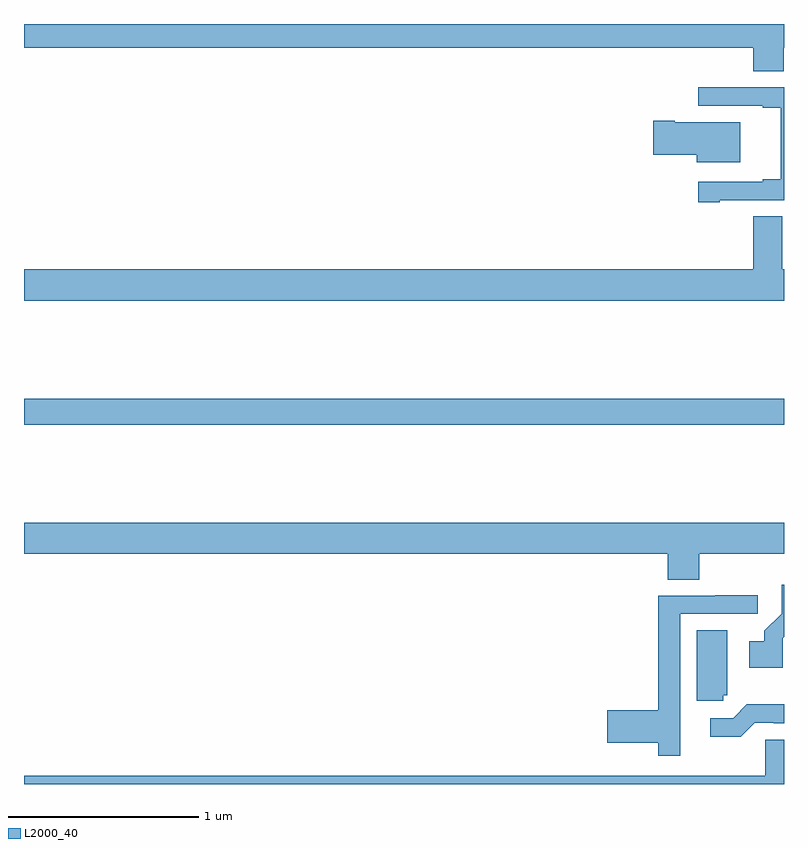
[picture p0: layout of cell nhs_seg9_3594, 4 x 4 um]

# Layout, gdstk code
import gdstk
lib = gdstk.Library(unit=1e-6, precision=1e-09)
def R(c, l, rs):  # rectangles x0, y0, x1, y1
    for r in rs: c.add(gdstk.rectangle(r[:2], r[2:], *l))
def P(c, l, *ps):  # polygons
    for p in ps: c.add(gdstk.Polygon(p, *l))
L2000_40 = (2000, 40)

nhs_seg9_3594 = lib.new_cell('nhs_seg9_3594')
R(nhs_seg9_3594, L2000_40, [(315,1238.392,319,1238.528)])
P(nhs_seg9_3594, L2000_40, [(318.999,1240.376),(319,1240.376),(319,1240.5),(315,1240.5),(315,1240.376),(318.839,1240.376),(318.839,1240.252),(318.999,1240.252)],
  [(318.661,1239.573),(319,1239.573),(319,1240.167),(318.549,1240.167),(318.549,1240.071),(318.887,1240.071),(318.887,1240.059),(318.983,1240.059),(318.983,1239.682),(318.887,1239.682),(318.887,1239.669),(318.549,1239.669),(318.549,1239.561),(318.661,1239.561)],
  [(318.769,1239.982),(318.424,1239.982),(318.424,1239.99),(318.312,1239.99),(318.312,1239.812),(318.542,1239.812),(318.542,1239.773),(318.769,1239.773)],
  [(319,1239.208),(318.991,1239.208),(318.991,1239.488),(318.839,1239.488),(318.839,1239.208),(315,1239.208),(315,1239.044),(319,1239.044)],
  [(318.554,1237.712),(319,1237.712),(319,1237.876),(315,1237.876),(315,1237.712),(318.389,1237.712),(318.389,1237.576),(318.554,1237.576)],
  [(318.993,1237.267),(319,1237.274),(319,1237.549),(318.987,1237.549),(318.987,1237.397),(318.896,1237.307),(318.896,1237.252),(318.816,1237.252),(318.816,1237.112),(318.993,1237.112)],
  [(318.454,1236.87),(318.453,1236.87),(318.453,1237.395),(318.862,1237.395),(318.862,1237.494),(318.637,1237.494),(318.637,1237.491),(318.337,1237.491),(318.337,1236.887),(318.069,1236.887),(318.069,1236.716),(318.337,1236.716),(318.337,1236.648),(318.454,1236.648)],
  [(318.681,1236.966),(318.7,1236.966),(318.7,1237.31),(318.542,1237.31),(318.542,1236.939),(318.681,1236.939)],
  [(318.846,1236.822),(318.946,1236.822),(318.946,1236.819),(319,1236.819),(319,1236.919),(318.805,1236.919),(318.732,1236.846),(318.612,1236.846),(318.612,1236.749),(318.773,1236.749)],
  [(319,1236.734),(318.9,1236.734),(318.9,1236.544),(315,1236.544),(315,1236.5),(319,1236.5)])

lib.write_gds('nhs_seg9_3594.gds')
